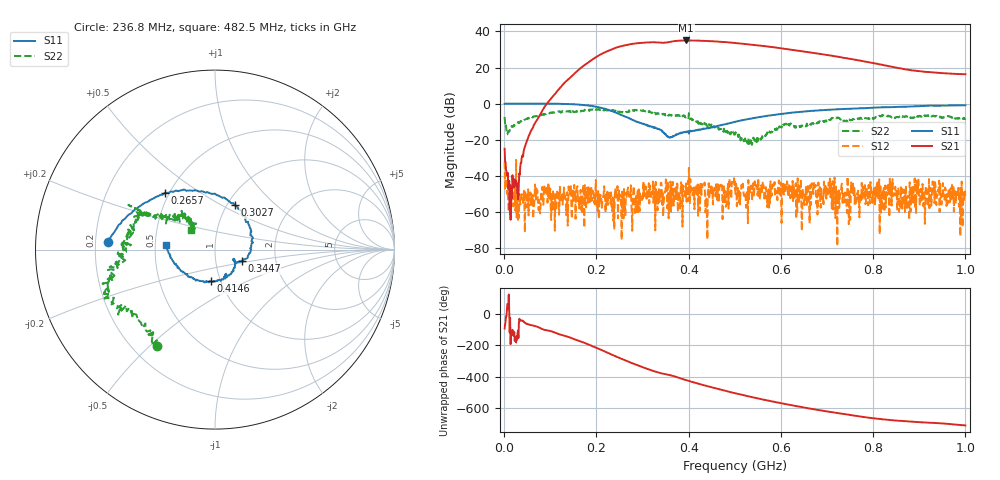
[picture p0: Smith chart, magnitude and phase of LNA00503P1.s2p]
! Created with skrf 1.9.0 (http://scikit-rf.org).
# Hz S RI R 50.0
!freq ReS11 ImS11 ReS21 ImS21 ReS12 ImS12 ReS22 ImS22
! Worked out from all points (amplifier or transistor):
!   1001 points, 1 MHz to 1 GHz, reference 50 ohm
!   highest |S21| = 35.0 dB at 394.6 MHz (marker M1)
!   |S21| within 3 dB of that: 256.9 MHz to 559 MHz (302.1 MHz wide, 74.1 % of centre)
!   unconditionally stable (mu >= 1): 217.2 MHz to 301.7 MHz; 322.7 MHz to 400.3 MHz; 401.1 MHz to end of sweep (the widest 3 of 32)
!   at 166.8 MHz: K = 3.33, MAG = 31.3 dB, |S12| = -59.0 dB
!   at 500.5 MHz: K = 1.51, MAG = 34.2 dB, |S12| = -43.2 dB
!   at 1 GHz: K = 4.67, MAG = 24.0 dB, |S12| = -51.1 dB
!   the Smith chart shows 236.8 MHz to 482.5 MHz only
!   S11 on the Smith chart (normalised r, x): 236.8 MHz: 0.25, +0.04; 265.7 MHz: 0.47, +0.36; 302.7 MHz: 1.08, +0.58; 344.7 MHz: 1.33, -0.17; 414.6 MHz: 0.90, -0.33; 482.5 MHz: 0.57, +0.03
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1000000  0.983 0.00683  -0.00378 -0.0565  -0.022 -0.0107  0.2534 0.3415
1.08892e8  0.5313 -0.84  -0.8472 -1.567  0.00154 0.00227  0.4206 -0.3801
1.67833e8  -0.2198 -0.9008  -10.14 -0.3784  0.00179 -0.000284  0.0198 -0.6329
2.07793e8  -0.6466 -0.431  -15.76 16.18  -0.00172 0.000696  -0.2227 -0.6612
2.36764e8  -0.5972 0.0449  -3.862 33.21  0.000341 0.000456  -0.3255 -0.5393
2.65735e8  -0.2791 0.3163  20.77 36.65  -0.0015 0.00206  -0.4579 -0.3814
2.82718e8  -0.075 0.3253  34.84 30.19  -0.000712 0.00136  -0.6052 -0.2703
3.02698e8  0.1087 0.2468  46.07 15.93  -0.00269 0.000779  -0.5924 -0.1824
3.34666e8  0.1983 -0.00849  48.38 -10.92  -0.00132 0.0012  -0.5301 -0.0442
3.44656e8  0.1477 -0.0621  45.52 -16.74  -0.000708 0.000212  -0.5219 0.0293
3.68632e8  0.1111 -0.0648  43.61 -32  -0.000652 0.00438  -0.4394 0.1616
3.94606e8  0.0658 -0.1538  27.66 -49.16  0.00398 0.00459  -0.382 0.2082
4.14586e8  -0.0238 -0.177  12.02 -54.6  0.00343 0.00187  -0.2734 0.1454
4.45555e8  -0.1665 -0.1334  -11.69 -52.66  0.00334 0.00117  -0.1667 0.1818
4.82518e8  -0.2726 0.025  -32.48 -38.25  0.0016 0.000604  -0.1333 0.1097
5.005e8  -0.2841 0.1297  -38.74 -28.78  0.00633 -0.00275  -0.1138 0.0796
5.39461e8  -0.2226 0.3274  -42.01 -7.722  0.00431 0.000779  -0.1044 -0.00667
5.85415e8  -0.0404 0.4862  -34.58 11.18  0.00116 -0.0054  -0.1873 -0.0492
6.67333e8  0.3402 0.5289  -11.72 22.81  -9.58e-05 -0.00618  -0.2867 -0.0215
7.49251e8  0.6146 0.3709  3.285 17.18  -0.00098 0.0035  -0.3403 0.0889
8.34166e8  0.7823 0.1465  7.349 8.061  -0.00247 -0.00281  -0.4049 0.1927
1e9  0.8166 -0.3812  6.369 1.435  0.000802 -0.00268  -0.0761 0.3704
